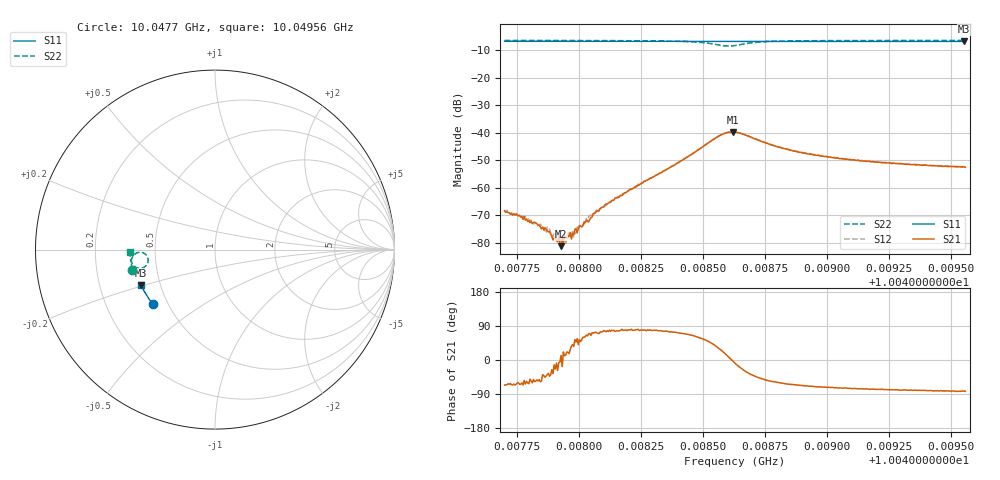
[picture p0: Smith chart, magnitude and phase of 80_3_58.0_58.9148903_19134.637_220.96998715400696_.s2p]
#  HZ  S  RI  R  50.00
! Rohde & Schwarz Vector Network Analyzer
! Rohde-Schwarz,ZNB20-2Port,1311601062101988,3.16
! Created: UTC 3/21/2024, 12:53:52 AM
! freq[Hz]  re:S11  im:S11  re:S21  im:S21  re:S12  im:S12  re:S22  im:S22
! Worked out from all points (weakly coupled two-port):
!   401 points, 10.0477 GHz to 10.04956 GHz, reference 50 ohm
!   highest |S21| = -39.75 dB at 10.04862 GHz (marker M1); lowest = -81.3 dB at 10.04793 GHz (marker M2)
!   lowest |S11| = -6.8 dB at 10.04956 GHz (marker M3), VSWR 2.68, Z = 19.5 - j9.72 ohm
!   |S11| at or under -10 dB: nowhere
!   |S22| runs from -8.5 to -6.4 dB; largest |S21 - S12| = 0.0007
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1.0047702e10  -0.3474 -0.3013  0.000153 -0.000349  0.00019 -0.000313  -0.4625 -0.1125
1.004779e10  -0.3511 -0.2968  0.000149 -0.000224  0.000176 -0.000217  -0.4637 -0.1057
1.0047874e10  -0.3544 -0.2923  0.000129 -0.000104  0.000158 -0.000108  -0.4648 -0.0991
1.0047902e10  -0.3557 -0.2908  0.000118 -2.68e-05  0.000142 -6.21e-05  -0.4651 -0.0967
1.0047906e10  -0.3559 -0.2906  0.000115 -5.18e-05  0.000133 -6.19e-05  -0.465 -0.0965
1.004793e10  -0.3569 -0.2892  8.41e-05 1.84e-05  0.000106 2.47e-05  -0.4654 -0.0944
1.0047939e10  -0.3571 -0.2889  8.99e-05 3.5e-05  0.000102 3.49e-05  -0.4654 -0.0938
1.0047967e10  -0.3582 -0.2873  0.000135 7.08e-05  0.000125 7.22e-05  -0.4656 -0.0913
1.0047981e10  -0.3589 -0.2866  0.000114 8.2e-05  0.000104 7.12e-05  -0.4658 -0.0902
1.0048013e10  -0.3601 -0.2849  0.000114 0.000153  9.51e-05 0.000176  -0.4661 -0.0873
1.0048041e10  -0.3613 -0.2835  8.25e-05 0.000223  0.000105 0.000278  -0.4662 -0.0847
1.0048069e10  -0.3623 -0.2819  0.000101 0.000338  0.00011 0.000356  -0.4664 -0.0821
1.0048097e10  -0.3634 -0.2804  0.000119 0.000427  9.05e-05 0.000431  -0.4665 -0.0796
1.0048324e10  -0.372 -0.2681  0.000418 0.00175  0.00028 0.00177  -0.464 -0.0525
1.0048561e10  -0.38 -0.2546  0.00708 0.00461  0.00678 0.00507  -0.3966 -0.0196
1.0048622e10  -0.3818 -0.2515  0.0103 -0.000512  0.0103 0.000139  -0.3738 -0.0697
1.0048631e10  -0.3821 -0.2509  0.0101 -0.00151  0.0102 -0.000864  -0.3767 -0.0784
1.0048812e10  -0.3889 -0.2414  0.00269 -0.00468  0.00299 -0.00455  -0.4546 -0.087
1.0048942e10  -0.3934 -0.2338  0.00142 -0.00374  0.00162 -0.00369  -0.4662 -0.0675
1.0049253e10  -0.403 -0.2154  0.000545 -0.00275  0.00072 -0.00274  -0.4733 -0.036
1.0049555e10  -0.4116 -0.1975  0.000339 -0.00235  0.000408 -0.00233  -0.4748 -0.0122
1.004956e10  -0.4117 -0.1972  0.000296 -0.00232  0.000431 -0.00235  -0.475 -0.0117
